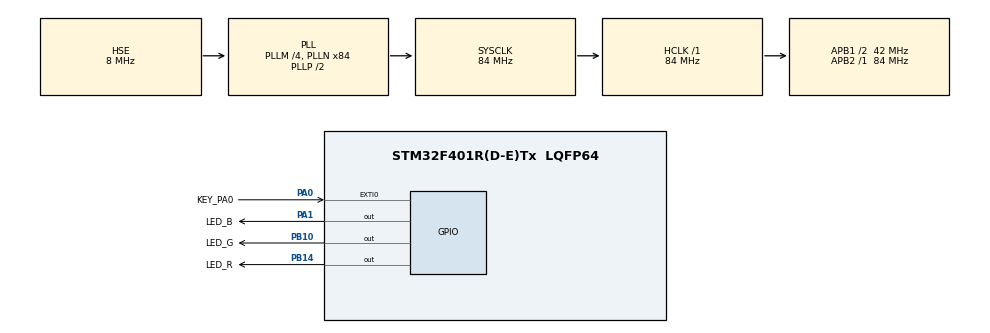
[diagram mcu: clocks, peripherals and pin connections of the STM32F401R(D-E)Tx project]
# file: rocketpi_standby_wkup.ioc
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Mcu.Family=STM32F4
Mcu.Name=STM32F401R(D-E)Tx
Mcu.Package=LQFP64
NVIC.EXTI0_IRQn=true\:0\:0\:false\:false\:true\:true\:true\:true
NVIC.PriorityGroup=NVIC_PRIORITYGROUP_4
PA0-WKUP.GPIO_Label=KEY_PA0
PA0-WKUP.GPIO_ModeDefaultEXTI=GPIO_MODE_IT_RISING
PA0-WKUP.Signal=GPXTI0
PA1.GPIO_Label=LED_B
PA1.PinState=GPIO_PIN_SET
PA1.Signal=GPIO_Output
PA13.GPIO_Label=TMS
PA13.Mode=Serial_Wire
PA13.Signal=SYS_JTMS-SWDIO
PA14.GPIO_Label=TCK
PA14.Mode=Serial_Wire
PA14.Signal=SYS_JTCK-SWCLK
PB10.GPIO_Label=LED_G
PB10.PinState=GPIO_PIN_SET
PB10.Signal=GPIO_Output
PB14.GPIO_Label=LED_R
PB14.PinState=GPIO_PIN_SET
PB14.Signal=GPIO_Output
PH0\ -\ OSC_IN.Mode=HSE-External-Oscillator
PH0\ -\ OSC_IN.Signal=RCC_OSC_IN
PH1\ -\ OSC_OUT.Mode=HSE-External-Oscillator
PH1\ -\ OSC_OUT.Signal=RCC_OSC_OUT
ProjectManager.HeapSize=0x800
ProjectManager.StackSize=0x800
ProjectManager.TargetToolchain=MDK-ARM V5.27
RCC.48MHZClocksFreq_Value=24000000
RCC.AHBFreq_Value=84000000
RCC.APB1CLKDivider=RCC_HCLK_DIV2
RCC.APB1Freq_Value=42000000
RCC.APB1TimFreq_Value=84000000
RCC.APB2Freq_Value=84000000
RCC.APB2TimFreq_Value=84000000
RCC.CortexFreq_Value=84000000
RCC.HCLKFreq_Value=84000000
RCC.HSE_VALUE=8000000
RCC.HSI_VALUE=16000000
RCC.LSE_VALUE=32768
RCC.PLLM=4
RCC.PLLN=84
RCC.PLLQ=7
RCC.PLLSourceVirtual=RCC_PLLSOURCE_HSE
RCC.SYSCLKFreq_VALUE=84000000
RCC.SYSCLKSource=RCC_SYSCLKSOURCE_PLLCLK
RCC.VCOOutputFreq_Value=168000000
board=NUCLEO-F401RE

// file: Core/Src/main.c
/* USER CODE BEGIN Header */
/**
  ******************************************************************************
  * @file           : main.c
  * @brief          : Main program body
  ******************************************************************************
  * @attention
  *
  * Copyright (c) 2025 STMicroelectronics.
  * All rights reserved.
  *
  * This software is licensed under terms that can be found in the LICENSE file
  * in the root directory of this software component.
  * If no LICENSE file comes with this software, it is provided AS-IS.
  *
  ******************************************************************************
  */
/* USER CODE END Header */
#include "main.h"
#include "gpio.h"

void SystemClock_Config(void);
/* USER CODE BEGIN PFP */
static void EnterStandbyMode(void);
static void SetAllLeds(GPIO_PinState state);
static void EnableAllPeripheralClocks(void);
/* USER CODE END PFP */

int main(void)
{

  /* MCU Configuration--------------------------------------------------------*/

  /* Reset of all peripherals, Initializes the Flash interface and the Systick. */
  HAL_Init();

  /* Configure the system clock */
  SystemClock_Config();

  /* Initialize all configured peripherals */
  MX_GPIO_Init();
  /* USER CODE BEGIN 2 */
  /*
	 * 打开所有可用外设时钟，让普通工作模式的功耗尽可能大
	 * 这里的功耗大不了多少，只有当实际配置并让这些外设工作电流才会尽可能的大
	*/
  EnableAllPeripheralClocks();

  /* 判断当前是否是从 Standby 模式唤醒 */
  uint8_t woke_from_standby = (__HAL_PWR_GET_FLAG(PWR_FLAG_SB) != RESET);

  /* 处理唤醒后的流程 */
  if (woke_from_standby)
  {
    __HAL_PWR_CLEAR_FLAG(PWR_FLAG_SB);
    __HAL_PWR_CLEAR_FLAG(PWR_FLAG_WU);
    SetAllLeds(GPIO_PIN_RESET); //打开LED
  }
  else
  {
    SetAllLeds(GPIO_PIN_SET); //关闭LED
  }

  /* 延迟 3 秒后再进入 Standby，方便观察与退出 */
  HAL_Delay(3000);
  EnterStandbyMode();

  /* USER CODE END 2 */

  /* Infinite loop */
  while (1)
  {

  }
}

void SystemClock_Config(void)
{
  RCC_OscInitTypeDef RCC_OscInitStruct = {0};
  RCC_ClkInitTypeDef RCC_ClkInitStruct = {0};

  /** Configure the main internal regulator output voltage
  */
  __HAL_RCC_PWR_CLK_ENABLE();
  __HAL_PWR_VOLTAGESCALING_CONFIG(PWR_REGULATOR_VOLTAGE_SCALE2);

  /** Initializes the RCC Oscillators according to the specified parameters
  * in the RCC_OscInitTypeDef structure.
  */
  RCC_OscInitStruct.OscillatorType = RCC_OSCILLATORTYPE_HSE;
  RCC_OscInitStruct.HSEState = RCC_HSE_ON;
  RCC_OscInitStruct.PLL.PLLState = RCC_PLL_ON;
  RCC_OscInitStruct.PLL.PLLSource = RCC_PLLSOURCE_HSE;
  RCC_OscInitStruct.PLL.PLLM = 4;
  RCC_OscInitStruct.PLL.PLLN = 84;
  RCC_OscInitStruct.PLL.PLLP = RCC_PLLP_DIV2;
  RCC_OscInitStruct.PLL.PLLQ = 7;
  if (HAL_RCC_OscConfig(&RCC_OscInitStruct) != HAL_OK)
  {
    Error_Handler();
  }

  /** Initializes the CPU, AHB and APB buses clocks
  */
  RCC_ClkInitStruct.ClockType = RCC_CLOCKTYPE_HCLK|RCC_CLOCKTYPE_SYSCLK
                              |RCC_CLOCKTYPE_PCLK1|RCC_CLOCKTYPE_PCLK2;
  RCC_ClkInitStruct.SYSCLKSource = RCC_SYSCLKSOURCE_PLLCLK;
  RCC_ClkInitStruct.AHBCLKDivider = RCC_SYSCLK_DIV1;
  RCC_ClkInitStruct.APB1CLKDivider = RCC_HCLK_DIV2;
  RCC_ClkInitStruct.APB2CLKDivider = RCC_HCLK_DIV1;

  if (HAL_RCC_ClockConfig(&RCC_ClkInitStruct, FLASH_LATENCY_2) != HAL_OK)
  {
    Error_Handler();
  }
}

/* USER CODE BEGIN 4 */
static void EnterStandbyMode(void)
{
  /* 进入 Standby 前先清除旧的唤醒标志并重新使能 PA0 为唤醒源 */
  HAL_PWR_DisableWakeUpPin(PWR_WAKEUP_PIN1);
  __HAL_PWR_CLEAR_FLAG(PWR_FLAG_WU);
  HAL_PWR_EnableWakeUpPin(PWR_WAKEUP_PIN1);
  HAL_PWR_EnterSTANDBYMode();
}

static void SetAllLeds(GPIO_PinState state)
{
  /* 同步控制三色 LED，便于统一显示状态 */
  HAL_GPIO_WritePin(LED_B_GPIO_Port, LED_B_Pin, state);
  HAL_GPIO_WritePin(LED_G_GPIO_Port, LED_G_Pin, state);
  HAL_GPIO_WritePin(LED_R_GPIO_Port, LED_R_Pin, state);
}

static void EnableAllPeripheralClocks(void)
{
  /* AHB1 总线：GPIO、DMA 等 */
#if defined(__HAL_RCC_GPIOA_CLK_ENABLE)
  __HAL_RCC_GPIOA_CLK_ENABLE();
#endif
#if defined(__HAL_RCC_GPIOB_CLK_ENABLE)
  __HAL_RCC_GPIOB_CLK_ENABLE();
#endif
#if defined(__HAL_RCC_GPIOC_CLK_ENABLE)
  __HAL_RCC_GPIOC_CLK_ENABLE();
#endif
#if defined(__HAL_RCC_GPIOD_CLK_ENABLE)
  __HAL_RCC_GPIOD_CLK_ENABLE();
#endif
#if defined(__HAL_RCC_GPIOE_CLK_ENABLE)
  __HAL_RCC_GPIOE_CLK_ENABLE();
#endif
#if defined(__HAL_RCC_GPIOH_CLK_ENABLE)
  __HAL_RCC_GPIOH_CLK_ENABLE();
#endif
#if defined(__HAL_RCC_DMA1_CLK_ENABLE)
  __HAL_RCC_DMA1_CLK_ENABLE();
#endif
#if defined(__HAL_RCC_DMA2_CLK_ENABLE)
  __HAL_RCC_DMA2_CLK_ENABLE();
#endif
#if defined(__HAL_RCC_CRC_CLK_ENABLE)
  __HAL_RCC_CRC_CLK_ENABLE();
#endif
#if defined(__HAL_RCC_BKPSRAM_CLK_ENABLE)
  __HAL_RCC_BKPSRAM_CLK_ENABLE();
#endif

  /* AHB2 总线：USB OTG、RNG 等 */
#if defined(__HAL_RCC_USB_OTG_FS_CLK_ENABLE)
  __HAL_RCC_USB_OTG_FS_CLK_ENABLE();
#endif
#if defined(__HAL_RCC_RNG_CLK_ENABLE)
  __HAL_RCC_RNG_CLK_ENABLE();
#endif

  /* APB1 总线：定时器、串口、I2C 等 */
#if defined(__HAL_RCC_TIM2_CLK_ENABLE)
  __HAL_RCC_TIM2_CLK_ENABLE();
#endif
#if defined(__HAL_RCC_TIM3_CLK_ENABLE)
  __HAL_RCC_TIM3_CLK_ENABLE();
#endif
#if defined(__HAL_RCC_TIM4_CLK_ENABLE)
  __HAL_RCC_TIM4_CLK_ENABLE();
#endif
#if defined(__HAL_RCC_TIM5_CLK_ENABLE)
  __HAL_RCC_TIM5_CLK_ENABLE();
#endif
#if defined(__HAL_RCC_TIM6_CLK_ENABLE)
  __HAL_RCC_TIM6_CLK_ENABLE();
#endif
#if defined(__HAL_RCC_TIM7_CLK_ENABLE)
  __HAL_RCC_TIM7_CLK_ENABLE();
#endif
#if defined(__HAL_RCC_SPI2_CLK_ENABLE)
  __HAL_RCC_SPI2_CLK_ENABLE();
#endif
#if defined(__HAL_RCC_SPI3_CLK_ENABLE)
  __HAL_RCC_SPI3_CLK_ENABLE();
#endif
#if defined(__HAL_RCC_I2C1_CLK_ENABLE)
  __HAL_RCC_I2C1_CLK_ENABLE();
#endif
#if defined(__HAL_RCC_I2C2_CLK_ENABLE)
  __HAL_RCC_I2C2_CLK_ENABLE();
#endif
#if defined(__HAL_RCC_I2C3_CLK_ENABLE)
  __HAL_RCC_I2C3_CLK_ENABLE();
#endif
#if defined(__HAL_RCC_USART2_CLK_ENABLE)
  __HAL_RCC_USART2_CLK_ENABLE();
#endif
#if defined(__HAL_RCC_USART3_CLK_ENABLE)
  __HAL_RCC_USART3_CLK_ENABLE();
#endif
#if defined(__HAL_RCC_UART4_CLK_ENABLE)
  __HAL_RCC_UART4_CLK_ENABLE();
#endif
#if defined(__HAL_RCC_UART5_CLK_ENABLE)
  __HAL_RCC_UART5_CLK_ENABLE();
#endif
#if defined(__HAL_RCC_PWR_CLK_ENABLE)
  __HAL_RCC_PWR_CLK_ENABLE();
#endif
#if defined(__HAL_RCC_DAC_CLK_ENABLE)
  __HAL_RCC_DAC_CLK_ENABLE();
#endif

  /* APB2 总线：高速外设 */
#if defined(__HAL_RCC_TIM1_CLK_ENABLE)
  __HAL_RCC_TIM1_CLK_ENABLE();
#endif
#if defined(__HAL_RCC_TIM9_CLK_ENABLE)
  __HAL_RCC_TIM9_CLK_ENABLE();
#endif
#if defined(__HAL_RCC_TIM10_CLK_ENABLE)
  __HAL_RCC_TIM10_CLK_ENABLE();
#endif
#if defined(__HAL_RCC_TIM11_CLK_ENABLE)
  __HAL_RCC_TIM11_CLK_ENABLE();
#endif
#if defined(__HAL_RCC_ADC1_CLK_ENABLE)
  __HAL_RCC_ADC1_CLK_ENABLE();
#endif
#if defined(__HAL_RCC_SDIO_CLK_ENABLE)
  __HAL_RCC_SDIO_CLK_ENABLE();
#endif
#if defined(__HAL_RCC_SPI1_CLK_ENABLE)
  __HAL_RCC_SPI1_CLK_ENABLE();
#endif
#if defined(__HAL_RCC_SPI4_CLK_ENABLE)
  __HAL_RCC_SPI4_CLK_ENABLE();
#endif
#if defined(__HAL_RCC_SYSCFG_CLK_ENABLE)
  __HAL_RCC_SYSCFG_CLK_ENABLE();
#endif
#if defined(__HAL_RCC_USART1_CLK_ENABLE)
  __HAL_RCC_USART1_CLK_ENABLE();
#endif
#if defined(__HAL_RCC_USART6_CLK_ENABLE)
  __HAL_RCC_USART6_CLK_ENABLE();
#endif
}

/* USER CODE END 4 */

void Error_Handler(void)
{
  __disable_irq();
  while (1)
  {
  }
}
